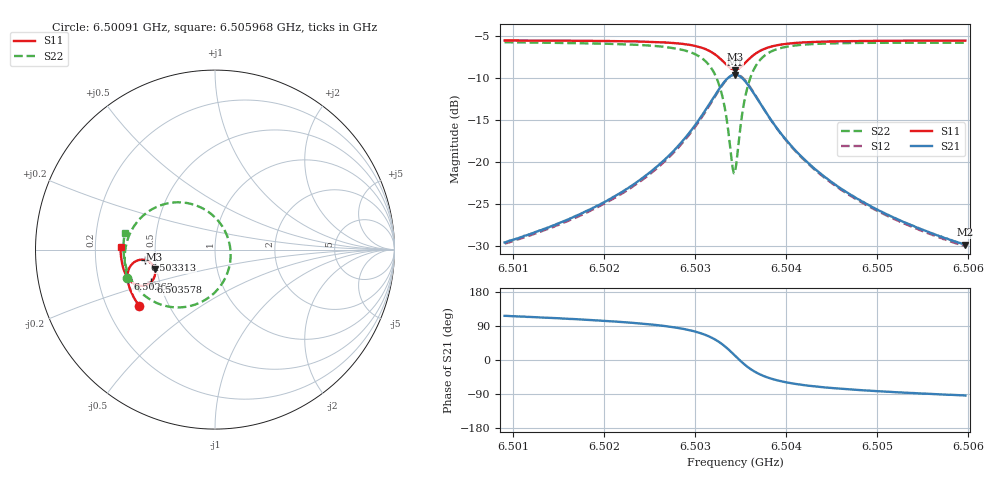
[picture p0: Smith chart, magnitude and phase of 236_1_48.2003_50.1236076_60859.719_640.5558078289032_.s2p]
#  HZ  S  RI  R  50.00
! Rohde & Schwarz Vector Network Analyzer
! Rohde-Schwarz,ZNB20-2Port,1311601062101988,3.16
! Created: UTC 3/20/2024, 11:46:39 AM
! freq[Hz]  re:S11  im:S11  re:S21  im:S21  re:S12  im:S12  re:S22  im:S22
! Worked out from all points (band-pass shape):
!   401 points, 6.50091 GHz to 6.505968 GHz, reference 50 ohm
!   highest |S21| = -9.64 dB at 6.503439 GHz (marker M1); lowest = -29.8 dB at 6.505968 GHz (marker M2)
!   |S21| within 3 dB of the highest: 6.503186 GHz to 6.503692 GHz (505.8 kHz wide, 0.00778 % of centre)
!   lowest |S11| = -9.0 dB at 6.503439 GHz (marker M3), VSWR 2.09, Z = 24.3 - j5.97 ohm
!   |S11| at or under -10 dB: nowhere
!   |S22| runs from -21.3 to -5.8 dB; largest |S21 - S12| = 0.011
!   S11 on the Smith chart (normalised r, x): 6.50091 GHz: 0.34, -0.29; 6.50263 GHz: 0.33, -0.15; 6.503313 GHz: 0.44, -0.06; 6.503578 GHz: 0.45, -0.19; 6.505968 GHz: 0.31, +0.01
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6.5009103e9  -0.4245 -0.3117  -0.0149 0.0298  -0.0132 0.0299  -0.4889 -0.1576
6.5017575e9  -0.4611 -0.2494  -0.0143 0.0476  -0.0118 0.0471  -0.5027 -0.0681
6.5022127e9  -0.4773 -0.2093  -0.0115 0.0662  -0.00854 0.0651  -0.5 -0.00419
6.5026047e9  -0.4868 -0.1663  -0.00255 0.0963  0.00124 0.0939  -0.4807 0.0733
6.50263e9  -0.4872 -0.1631  -0.00121 0.099  0.00237 0.0966  -0.4782 0.0795
6.5029208e9  -0.4834 -0.1185  0.026 0.1429  0.0297 0.1384  -0.4213 0.1686
6.5031105e9  -0.4621 -0.0803  0.0802 0.185  0.0826 0.1788  -0.3177 0.2411
6.5032243e9  -0.4295 -0.0597  0.1495 0.2025  0.1502 0.1962  -0.1928 0.2633
6.5033128e9  -0.3889 -0.058  0.2291 0.186  0.2294 0.1808  -0.0555 0.2224
6.5033507e9  -0.3697 -0.0658  0.2653 0.1627  0.2663 0.158  0.00471 0.1748
6.5034139e9  -0.3431 -0.0927  0.3129 0.0982  0.3155 0.0934  0.0762 0.0511
6.5034392e9  -0.3368 -0.1073  0.3229 0.0659  0.3262 0.06  0.0866 -0.00932
6.5034645e9  -0.3339 -0.1231  0.3264 0.0321  0.3299 0.0252  0.0844 -0.0709
6.5035277e9  -0.3411 -0.1603  0.3079 -0.0457  0.3099 -0.0557  0.0278 -0.2062
6.5035783e9  -0.3577 -0.1822  0.2741 -0.0911  0.2737 -0.1023  -0.049 -0.2767
6.5036921e9  -0.4021 -0.2012  0.1898 -0.1355  0.1844 -0.145  -0.22 -0.322
6.5038565e9  -0.4482 -0.1916  0.1082 -0.1321  0.1013 -0.1371  -0.367 -0.2747
6.5040335e9  -0.4756 -0.1701  0.0638 -0.112  0.0575 -0.1142  -0.4387 -0.2096
6.5042864e9  -0.4963 -0.1402  0.0338 -0.0877  0.0291 -0.0881  -0.4818 -0.1376
6.5046657e9  -0.5118 -0.1007  0.015 -0.0645  0.0116 -0.0639  -0.5044 -0.0625
6.5051335e9  -0.5211 -0.0575  0.00514 -0.048  0.00269 -0.0472  -0.5103 0.00318
6.5059681e9  -0.5259 0.013  -0.00212 -0.0322  -0.00348 -0.0315  -0.5023 0.0911
